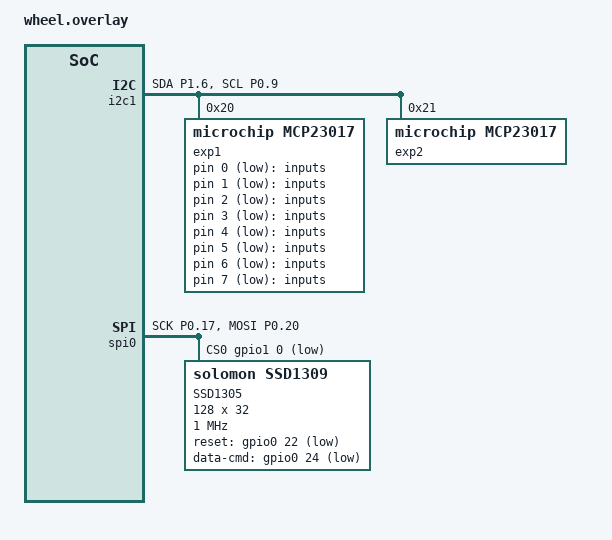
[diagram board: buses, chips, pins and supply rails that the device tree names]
#include "common.overlay"

/ {
	inputs: zephyr,user {
		gpios = <&exp1 0 (GPIO_ACTIVE_LOW | GPIO_PULL_UP)>,
				<&exp1 1 (GPIO_ACTIVE_LOW | GPIO_PULL_UP)>,
				<&exp1 2 (GPIO_ACTIVE_LOW | GPIO_PULL_UP)>,
				<&exp1 3 (GPIO_ACTIVE_LOW | GPIO_PULL_UP)>,
				<&exp1 4 (GPIO_ACTIVE_LOW | GPIO_PULL_UP)>,
				<&exp1 5 (GPIO_ACTIVE_LOW | GPIO_PULL_UP)>,
				<&exp1 6 (GPIO_ACTIVE_LOW | GPIO_PULL_UP)>,
				<&exp1 7 (GPIO_ACTIVE_LOW | GPIO_PULL_UP)>,
				<&exp2 0 (GPIO_ACTIVE_LOW | GPIO_PULL_UP)>,
				<&exp2 1 (GPIO_ACTIVE_LOW | GPIO_PULL_UP)>,
				<&exp2 2 (GPIO_ACTIVE_LOW | GPIO_PULL_UP)>,
				<&exp2 3 (GPIO_ACTIVE_LOW | GPIO_PULL_UP)>,
				<&exp2 4 (GPIO_ACTIVE_LOW | GPIO_PULL_UP)>,
				<&exp2 5 (GPIO_ACTIVE_LOW | GPIO_PULL_UP)>,
				<&exp2 6 (GPIO_ACTIVE_LOW | GPIO_PULL_UP)>,
				<&exp2 7 (GPIO_ACTIVE_LOW | GPIO_PULL_UP)>;
	};
};

&pinctrl {
	i2c0_default: i2c0_default {
		group1 {
			psels = <NRF_PSEL(TWIM_SDA, 1, 6)>,
			        <NRF_PSEL(TWIM_SCL, 0, 9)>;
		};
	};

	i2c0_sleep: i2c0_sleep {
		group1 {
			psels = <NRF_PSEL(TWIM_SDA, 1, 6)>,
			        <NRF_PSEL(TWIM_SCL, 0, 9)>;
			low-power-enable;
		};
	};
};

&i2c1 {
	compatible = "nordic,nrf-twi";
	status = "okay";
	pinctrl-0 = <&i2c0_default>;
	pinctrl-1 = <&i2c0_sleep>;
	pinctrl-names = "default", "sleep";

	exp1: mcp23017@20 {
		compatible = "microchip,mcp23017";
		reg = <0x20>;
		gpio-controller;
		#gpio-cells = <2>;
		ngpios = <16>;
	};

	exp2: mcp23017@21 {
		compatible = "microchip,mcp23017";
		reg = <0x21>;
		gpio-controller;
		#gpio-cells = <2>;
		ngpios = <16>;
	};
};

&pinctrl {
	spi0_default: spi0_default {
		group1 {
			psels = <NRF_PSEL(SPIM_SCK, 0, 17)>,
			        <NRF_PSEL(SPIM_MOSI, 0, 20)>;
		};
	};

	spi0_sleep: spi0_sleep {
		group1 {
			psels = <NRF_PSEL(SPIM_SCK, 0, 17)>,
			        <NRF_PSEL(SPIM_MOSI, 0, 20)>;
			low-power-enable;
		};
	};
};

&spi0 {
	compatible = "nordic,nrf-spi";
	status = "okay";
	pinctrl-0 = <&spi0_default>;
	pinctrl-1 = <&spi0_sleep>;
	pinctrl-names = "default", "sleep";
	cs-gpios = <&gpio1 0 GPIO_ACTIVE_LOW>;

	ssd1305: ssd1309@0 {
		status = "okay";
		compatible = "solomon,ssd1309";
		reg = <0>;
		label = "SSD1305";
		spi-max-frequency = <1000000>;
		width = <128>;
		height = <32>;
		segment-offset = <4>;
		page-offset = <4>;
		display-offset = <0x40>;
		multiplex-ratio = <0x3F>;
		prechargep = <0xF1>;
		segment-remap;
		reset-gpios = <&gpio0 22 GPIO_ACTIVE_LOW>;
		data-cmd-gpios = <&gpio0 24 GPIO_ACTIVE_LOW>;
	};
};
